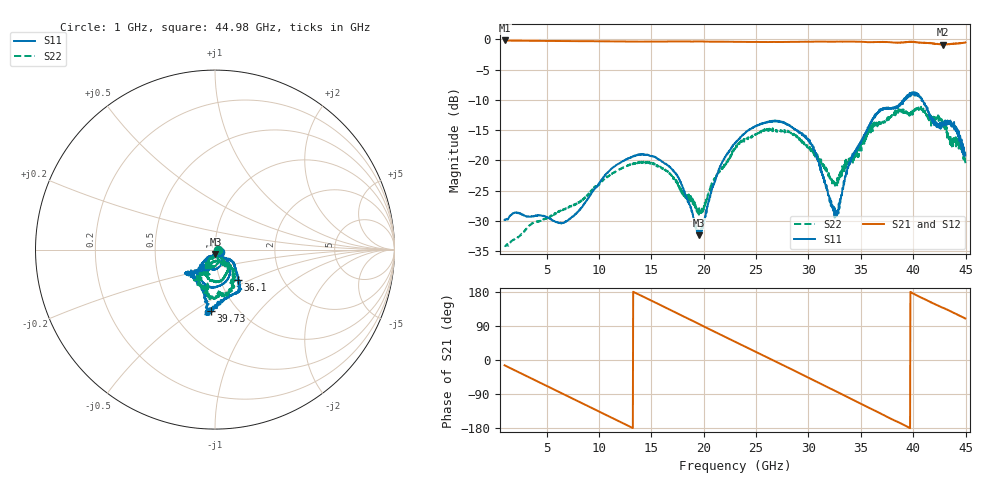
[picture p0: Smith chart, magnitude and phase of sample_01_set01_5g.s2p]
!Keysight Technologies,N5247B,MY61255062,A.19.80.06
!Date: Friday, March 13, 2026 17:27:22
!Correction: S11(C  2-Port  )
!S21(C  2-Port  )
!S12(C  2-Port  )
!S22(C  2-Port  )
!S2P File: Measurements: S11, S21, S12, S22:
# Hz S  dB  R 50
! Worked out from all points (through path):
!   1467 points, 1 GHz to 44.98 GHz, reference 50 ohm
!   highest |S21| = -0.20 dB at 1 GHz (marker M1); lowest = -0.9 dB at 42.85 GHz (marker M2)
!   group delay of S21, straight-line fit = 37.7 ps
!   lowest |S11| = -32.4 dB at 19.57 GHz (marker M3), VSWR 1.05, Z = 50.2 - j2.41 ohm
!   |S11| at or under -10 dB: start of sweep to 39.06 GHz; 39.07653 GHz to 39.14429 GHz (67.76 MHz wide, 0.173 % of centre); 40.87 GHz to end of sweep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
!   |S22| runs from -34.2 to -11.1 dB; largest |S21 - S12| = 0.0083
!   S11 on the Smith chart (normalised r, x): 1 GHz: 1.06, -0.02; 36.1 GHz: 1.21, -0.43; 39.73 GHz: 0.76, -0.59; 44.98 GHz: 0.89, -0.18
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1e9  -29.83 -20.9  -0.20 -14.0  -0.20 -14.0  -34.09 -12.2
4.96e9  -29.36 -74.8  -0.29 -67.6  -0.29 -67.5  -29.49 -71.2
6.58e9  -30.33 -70.4  -0.32 -89.5  -0.31 -89.5  -28.09 -75.0
8.35e9  -27.78 -54.5  -0.32 -113.3  -0.32 -113.3  -26.75 -72.0
1.213e10  -20.27 -73.5  -0.36 -164.7  -0.36 -164.6  -21.36 -84.3
1.567e10  -19.80 -110.9  -0.39 147.8  -0.39 147.8  -20.92 -111.5
1.762e10  -22.91 -128.1  -0.36 121.4  -0.35 121.4  -24.26 -118.9
1.957e10  -32.36 -84.2  -0.36 94.7  -0.36 94.8  -27.90 -83.9
2.149e10  -21.35 -41.9  -0.40 68.6  -0.39 68.7  -21.56 -51.6
2.299e10  -17.09 -52.3  -0.44 48.3  -0.43 48.3  -18.00 -55.5
2.494e10  -14.32 -73.7  -0.45 22.0  -0.44 22.1  -15.84 -71.5
2.668e10  -13.58 -93.7  -0.45 -1.5  -0.44 -1.4  -14.96 -90.3
2.848e10  -14.65 -114.3  -0.42 -25.8  -0.42 -25.7  -15.73 -102.3
3.034e10  -17.60 -128.6  -0.41 -51.1  -0.40 -51.0  -18.09 -111.4
3.265e10  -28.37 -87.6  -0.40 -82.9  -0.40 -82.8  -23.71 -78.2
3.391e10  -20.74 -36.9  -0.39 -100.4  -0.38 -100.3  -20.50 -62.0
3.61e10  -13.43 -52.5  -0.48 -130.4  -0.48 -130.4  -14.22 -56.8
3.766e10  -11.50 -64.7  -0.48 -152.0  -0.47 -151.8  -13.33 -63.1
3.973e10  -9.35 -93.6  -0.45 179.8  -0.43 179.6  -12.47 -86.7
4.285e10  -14.26 -140.7  -0.90 137.7  -0.88 137.8  -13.73 -119.4
4.396e10  -14.54 -134.8  -0.71 123.2  -0.69 123.1  -16.82 -108.9
4.498e10  -19.19 -117.3  -0.53 109.6  -0.52 109.5  -20.46 -115.3
